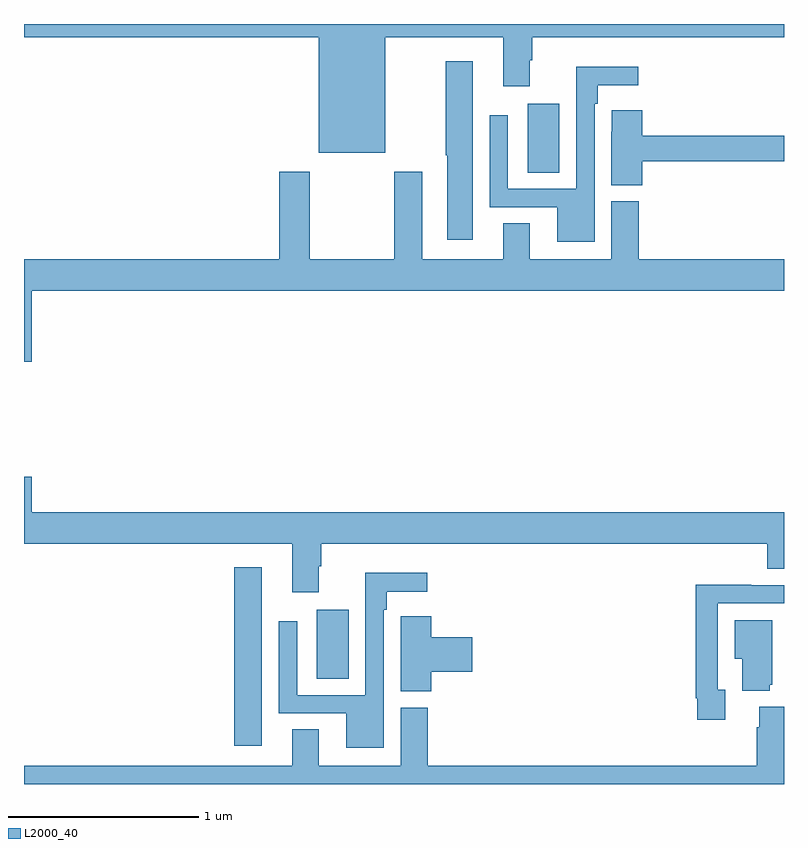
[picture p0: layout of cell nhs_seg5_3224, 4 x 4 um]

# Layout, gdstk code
import gdstk
lib = gdstk.Library(unit=1e-6, precision=1e-09)
def R(c, l, rs):  # rectangles x0, y0, x1, y1
    for r in rs: c.add(gdstk.rectangle(r[:2], r[2:], *l))
def P(c, l, *ps):  # polygons
    for p in ps: c.add(gdstk.Polygon(p, *l))
L2000_40 = (2000, 40)

nhs_seg5_3224 = lib.new_cell('nhs_seg5_3224')
R(nhs_seg5_3224, L2000_40, [(298.106,885,298.252,885.94), (298.541,885.352,298.708,885.715), (299.651,888.016,299.818,888.379)])
P(nhs_seg5_3224, L2000_40, [(298.9,888.728),(299.522,888.728),(299.522,888.471),(299.662,888.471),(299.662,888.608),(299.675,888.608),(299.675,888.728),(301,888.728),(301,888.799),(297,888.799),(297,888.728),(298.55,888.728),(298.55,888.122),(298.9,888.122)],
  [(299.362,888.604),(299.221,888.604),(299.221,888.109),(299.228,888.109),(299.228,887.664),(299.362,887.664)],
  [(300.003,888.38),(300.019,888.38),(300.019,888.476),(300.232,888.476),(300.232,888.574),(299.907,888.574),(299.907,887.931),(299.547,887.931),(299.547,888.319),(299.451,888.319),(299.451,887.835),(299.807,887.835),(299.807,887.654),(300.003,887.654)],
  [(300.254,888.076),(301,888.076),(301,888.212),(300.254,888.212),(300.254,888.346),(300.093,888.346),(300.093,888.233),(300.092,888.233),(300.092,887.95),(300.254,887.95)],
  [(297.04,887.396),(301,887.396),(301,887.56),(300.236,887.56),(300.236,887.865),(300.092,887.865),(300.092,887.56),(299.662,887.56),(299.662,887.75),(299.522,887.75),(299.522,887.56),(299.095,887.56),(299.095,888.022),(298.948,888.022),(298.948,887.56),(298.503,887.56),(298.503,888.022),(298.343,888.022),(298.343,887.56),(297,887.56),(297,887.022),(297.04,887.022)],
  [(297.04,886.417),(297,886.417),(297,886.064),(298.412,886.064),(298.412,885.807),(298.552,885.807),(298.552,885.944),(298.565,885.944),(298.565,886.064),(300.911,886.064),(300.911,885.931),(301,885.931),(301,886.228),(297.04,886.228)],
  [(298.893,885.716),(298.909,885.716),(298.909,885.812),(299.122,885.812),(299.122,885.91),(298.797,885.91),(298.797,885.267),(298.437,885.267),(298.437,885.655),(298.341,885.655),(298.341,885.171),(298.697,885.171),(298.697,884.99),(298.893,884.99)],
  [(300.691,885.294),(300.651,885.294),(300.651,885.75),(301,885.75),(301,885.846),(300.827,885.846),(300.827,885.848),(300.535,885.848),(300.535,885.25),(300.543,885.25),(300.543,885.138),(300.691,885.138)],
  [(299.144,885.389),(299.359,885.389),(299.359,885.572),(299.144,885.572),(299.144,885.682),(298.983,885.682),(298.983,885.569),(298.982,885.569),(298.982,885.286),(299.144,885.286)],
  [(300.926,885.321),(300.937,885.321),(300.937,885.661),(300.74,885.661),(300.74,885.458),(300.779,885.458),(300.779,885.29),(300.926,885.29)],
  [(301,885.205),(300.869,885.205),(300.869,885.098),(300.857,885.098),(300.857,884.896),(299.126,884.896),(299.126,885.201),(298.982,885.201),(298.982,884.896),(298.552,884.896),(298.552,885.086),(298.412,885.086),(298.412,884.896),(297,884.896),(297,884.799),(301,884.799)])

lib.write_gds('nhs_seg5_3224.gds')
